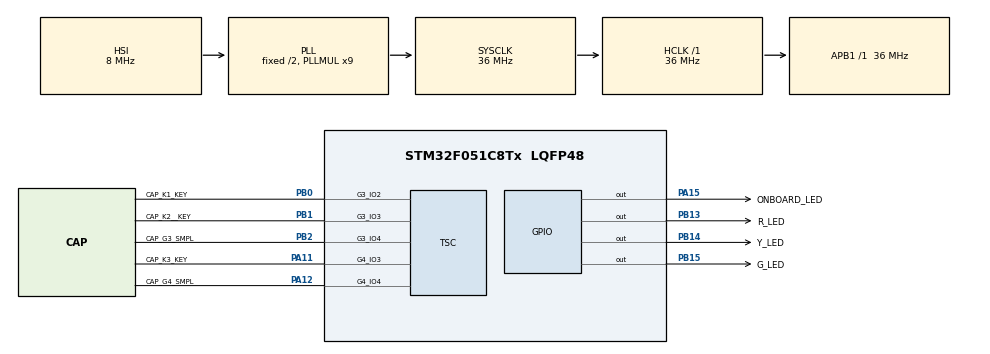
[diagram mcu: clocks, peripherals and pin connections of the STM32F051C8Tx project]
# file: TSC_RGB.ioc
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Mcu.Family=STM32F0
Mcu.Name=STM32F051C8Tx
Mcu.Package=LQFP48
NVIC.TIM1_BRK_UP_TRG_COM_IRQn=true\:0\:0\:false\:false\:true\:true\:true
NVIC.TSC_IRQn=true\:0\:0\:false\:false\:true\:true\:true
PA11.GPIO_Label=CAP_K3_KEY
PA11.Mode=G4_IO3-Channel
PA11.Signal=TSC_G4_IO3
PA12.GPIO_Label=CAP_G4_SMPL
PA12.Mode=G4_IO4-Sampling
PA12.Signal=TSC_G4_IO4
PA15.GPIO_Label=ONBOARD_LED
PA15.Signal=GPIO_Output
PB0.GPIO_Label=CAP_K1_KEY
PB0.Mode=G3_IO2-Channel
PB0.Signal=TSC_G3_IO2
PB1.GPIO_Label=CAP_K2__KEY
PB1.Mode=G3_IO3-Channel
PB1.Signal=TSC_G3_IO3
PB13.GPIO_Label=R_LED
PB13.Signal=GPIO_Output
PB14.GPIO_Label=Y_LED
PB14.Signal=GPIO_Output
PB15.GPIO_Label=G_LED
PB15.Signal=GPIO_Output
PB2.GPIO_Label=CAP_G3_SMPL
PB2.Mode=G3_IO4-Sampling
PB2.Signal=TSC_G3_IO4
ProjectManager.HeapSize=0x200
ProjectManager.StackSize=0x400
ProjectManager.TargetToolchain=STM32CubeIDE
RCC.AHBFreq_Value=36000000
RCC.APB1Freq_Value=36000000
RCC.APB1TimFreq_Value=36000000
RCC.HCLKFreq_Value=36000000
RCC.PLLMUL=RCC_PLL_MUL9
RCC.SYSCLKFreq_VALUE=36000000
RCC.SYSCLKSource=RCC_SYSCLKSOURCE_PLLCLK
TIM1.Period=32768
TIM1.Prescaler=4
TOUCHSENSING.IO_TOUCHKEY_B1=G3_IO2
TOUCHSENSING.IO_TOUCHKEY_B2=G4_IO3
TOUCHSENSING.IO_TOUCHKEY_B3=G3_IO3
TOUCHSENSING.TSLPRM_DELAY_DISCHARGE_ALL=1000
TOUCHSENSING.TSLPRM_SENSORS_DATAS=TSLPRM_TOTAL_TOUCHKEYS_B 2 2 1 
TOUCHSENSING.TSLPRM_TICK_FREQ=1000
TOUCHSENSING.TSLPRM_TKEY_CALIB_TH=40
TOUCHSENSING.TSLPRM_TKEY_DETECT_IN_TH=40
TOUCHSENSING.TSLPRM_TKEY_DETECT_OUT_TH=25
TOUCHSENSING.TSLPRM_TOTAL_TOUCHKEYS_B=3
TSC.CTPulseHighLength=TSC_CTPH_4CYCLES
TSC.CTPulseLowLength=TSC_CTPL_4CYCLES
TSC.ChannelIOs-G3_IO2=TSC_GROUP3_IO2
TSC.ChannelIOs-G3_IO3=TSC_GROUP3_IO3
TSC.ChannelIOs-G4_IO3=TSC_GROUP4_IO3
TSC.MaxCountValue=TSC_MCV_4095
TSC.SamplingIOs-G3_IO4=TSC_GROUP3_IO4
TSC.SamplingIOs-G4_IO4=TSC_GROUP4_IO4
TSC.SpreadSpectrum=ENABLE
VP_TIM1_VS_ClockSourceINT.Mode=Internal
VP_TIM1_VS_ClockSourceITR.Mode=TriggerSource_ITR0
VP_TOUCHSENSING_VS_TOUCHSENSING.Mode=TouchSensing_Enabled
board=custom

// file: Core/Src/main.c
/* USER CODE BEGIN Header */
/**
  ******************************************************************************
  * @file           : main.c
  * @brief          : Main program body
  ******************************************************************************
  * @attention
  *
  * <h2><center>&copy; Copyright (c) 2021 STMicroelectronics.
  * All rights reserved.</center></h2>
  *
  * This software component is licensed by ST under BSD 3-Clause license,
  * the "License"; You may not use this file except in compliance with the
  * License. You may obtain a copy of the License at:
  *                        opensource.org/licenses/BSD-3-Clause
  *
  ******************************************************************************
  */
/* USER CODE END Header */
#include "main.h"
#include "touchsensing.h"

/* USER CODE BEGIN PD */
#define TEST_TKEY(NB) ((MyTKeysB[(NB)].p_Data->StateId == TSL_STATEID_DETECT) || \
                       (MyTKeysB[(NB)].p_Data->StateId == TSL_STATEID_DEB_RELEASE_DETECT))
/* USER CODE END PD */

TIM_HandleTypeDef htim1;

TSC_HandleTypeDef htsc;

/* USER CODE BEGIN PV */
uint8_t DS[TSLPRM_TOTAL_TKEYS]; // To store the States (one per object)
int16_t DD[TSLPRM_TOTAL_TKEYS]; // To store the Deltas (one per channel)
uint16_t DM[TSLPRM_TOTAL_TKEYS];// To store the Measures (one per object)
uint16_t DR[TSLPRM_TOTAL_TKEYS];// To store the references (one per object)

/* USER CODE END PV */

void SystemClock_Config(void);
static void MX_GPIO_Init(void);
static void MX_TSC_Init(void);
static void MX_TIM1_Init(void);
void ProcessSensors(void);

int main(void)
{

  /* MCU Configuration--------------------------------------------------------*/

  /* Reset of all peripherals, Initializes the Flash interface and the Systick. */
  HAL_Init();

  /* Configure the system clock */
  SystemClock_Config();

  /* Initialize all configured peripherals */
  MX_GPIO_Init();
  MX_TSC_Init();
  MX_TOUCHSENSING_Init();
  MX_TIM1_Init();

  /* Infinite loop */
  while (1)
  {
	  if(tsl_user_Exec() == TSL_STATUS_OK)
	  {
		ProcessSensors(); // Execute sensors related tasks
	  }
  }
}

void SystemClock_Config(void)
{
  RCC_OscInitTypeDef RCC_OscInitStruct = {0};
  RCC_ClkInitTypeDef RCC_ClkInitStruct = {0};

  /** Initializes the RCC Oscillators according to the specified parameters
  * in the RCC_OscInitTypeDef structure.
  */
  RCC_OscInitStruct.OscillatorType = RCC_OSCILLATORTYPE_HSI;
  RCC_OscInitStruct.HSIState = RCC_HSI_ON;
  RCC_OscInitStruct.HSICalibrationValue = RCC_HSICALIBRATION_DEFAULT;
  RCC_OscInitStruct.PLL.PLLState = RCC_PLL_ON;
  RCC_OscInitStruct.PLL.PLLSource = RCC_PLLSOURCE_HSI;
  RCC_OscInitStruct.PLL.PLLMUL = RCC_PLL_MUL9;
  RCC_OscInitStruct.PLL.PREDIV = RCC_PREDIV_DIV1;
  if (HAL_RCC_OscConfig(&RCC_OscInitStruct) != HAL_OK)
  {
    Error_Handler();
  }
  /** Initializes the CPU, AHB and APB buses clocks
  */
  RCC_ClkInitStruct.ClockType = RCC_CLOCKTYPE_HCLK|RCC_CLOCKTYPE_SYSCLK
                              |RCC_CLOCKTYPE_PCLK1;
  RCC_ClkInitStruct.SYSCLKSource = RCC_SYSCLKSOURCE_PLLCLK;
  RCC_ClkInitStruct.AHBCLKDivider = RCC_SYSCLK_DIV1;
  RCC_ClkInitStruct.APB1CLKDivider = RCC_HCLK_DIV1;

  if (HAL_RCC_ClockConfig(&RCC_ClkInitStruct, FLASH_LATENCY_1) != HAL_OK)
  {
    Error_Handler();
  }
}

static void MX_TIM1_Init(void)
{

  TIM_ClockConfigTypeDef sClockSourceConfig = {0};
  TIM_SlaveConfigTypeDef sSlaveConfig = {0};
  TIM_MasterConfigTypeDef sMasterConfig = {0};

  htim1.Instance = TIM1;
  htim1.Init.Prescaler = 4;
  htim1.Init.CounterMode = TIM_COUNTERMODE_UP;
  htim1.Init.Period = 32768;
  htim1.Init.ClockDivision = TIM_CLOCKDIVISION_DIV1;
  htim1.Init.RepetitionCounter = 0;
  htim1.Init.AutoReloadPreload = TIM_AUTORELOAD_PRELOAD_DISABLE;
  if (HAL_TIM_Base_Init(&htim1) != HAL_OK)
  {
    Error_Handler();
  }
  sClockSourceConfig.ClockSource = TIM_CLOCKSOURCE_INTERNAL;
  if (HAL_TIM_ConfigClockSource(&htim1, &sClockSourceConfig) != HAL_OK)
  {
    Error_Handler();
  }
  sSlaveConfig.SlaveMode = TIM_SLAVEMODE_DISABLE;
  sSlaveConfig.InputTrigger = TIM_TS_ITR0;
  if (HAL_TIM_SlaveConfigSynchro(&htim1, &sSlaveConfig) != HAL_OK)
  {
    Error_Handler();
  }
  sMasterConfig.MasterOutputTrigger = TIM_TRGO_RESET;
  sMasterConfig.MasterSlaveMode = TIM_MASTERSLAVEMODE_DISABLE;
  if (HAL_TIMEx_MasterConfigSynchronization(&htim1, &sMasterConfig) != HAL_OK)
  {
    Error_Handler();
  }

}

static void MX_TSC_Init(void)
{

  /** Configure the TSC peripheral
  */
  htsc.Instance = TSC;
  htsc.Init.CTPulseHighLength = TSC_CTPH_4CYCLES;
  htsc.Init.CTPulseLowLength = TSC_CTPL_4CYCLES;
  htsc.Init.SpreadSpectrum = ENABLE;
  htsc.Init.SpreadSpectrumDeviation = 1;
  htsc.Init.SpreadSpectrumPrescaler = TSC_SS_PRESC_DIV1;
  htsc.Init.PulseGeneratorPrescaler = TSC_PG_PRESC_DIV4;
  htsc.Init.MaxCountValue = TSC_MCV_4095;
  htsc.Init.IODefaultMode = TSC_IODEF_OUT_PP_LOW;
  htsc.Init.SynchroPinPolarity = TSC_SYNC_POLARITY_FALLING;
  htsc.Init.AcquisitionMode = TSC_ACQ_MODE_NORMAL;
  htsc.Init.MaxCountInterrupt = DISABLE;
  htsc.Init.ChannelIOs = TSC_GROUP3_IO2|TSC_GROUP3_IO3|TSC_GROUP4_IO3;
  htsc.Init.ShieldIOs = 0;
  htsc.Init.SamplingIOs = TSC_GROUP3_IO4|TSC_GROUP4_IO4;
  if (HAL_TSC_Init(&htsc) != HAL_OK)
  {
    Error_Handler();
  }

}

static void MX_GPIO_Init(void)
{
  GPIO_InitTypeDef GPIO_InitStruct = {0};

  /* GPIO Ports Clock Enable */
  __HAL_RCC_GPIOB_CLK_ENABLE();
  __HAL_RCC_GPIOA_CLK_ENABLE();

  /*Configure GPIO pin Output Level */
  HAL_GPIO_WritePin(GPIOB, R_LED_Pin|Y_LED_Pin|G_LED_Pin, GPIO_PIN_RESET);

  /*Configure GPIO pin Output Level */
  HAL_GPIO_WritePin(ONBOARD_LED_GPIO_Port, ONBOARD_LED_Pin, GPIO_PIN_RESET);

  /*Configure GPIO pins : R_LED_Pin Y_LED_Pin G_LED_Pin */
  GPIO_InitStruct.Pin = R_LED_Pin|Y_LED_Pin|G_LED_Pin;
  GPIO_InitStruct.Mode = GPIO_MODE_OUTPUT_PP;
  GPIO_InitStruct.Pull = GPIO_NOPULL;
  GPIO_InitStruct.Speed = GPIO_SPEED_FREQ_LOW;
  HAL_GPIO_Init(GPIOB, &GPIO_InitStruct);

  /*Configure GPIO pin : ONBOARD_LED_Pin */
  GPIO_InitStruct.Pin = ONBOARD_LED_Pin;
  GPIO_InitStruct.Mode = GPIO_MODE_OUTPUT_PP;
  GPIO_InitStruct.Pull = GPIO_NOPULL;
  GPIO_InitStruct.Speed = GPIO_SPEED_FREQ_LOW;
  HAL_GPIO_Init(ONBOARD_LED_GPIO_Port, &GPIO_InitStruct);

}

/* USER CODE BEGIN 4 */
void ProcessSensors(void)
{
  uint32_t idx = 0;
  uint32_t idx_ds = 0;
  uint32_t idx_dd = 0;
  uint32_t idx_dm = 0;
  uint32_t idx_dr = 0;

  // STMStudio debug
  for (idx = 0; idx < TSLPRM_TOTAL_TKEYS; idx++)
  {
    DS[idx_ds++] = MyTKeysB[idx].p_Data->StateId;
    DD[idx_dd++] = MyTKeysB[idx].p_ChD->Delta;
    DM[idx_dm++] = MyTKeysB[idx].p_ChD->Meas;
    DR[idx_dr++] = MyTKeysB[idx].p_ChD->Ref;
  }

  HAL_GPIO_TogglePin(ONBOARD_LED_GPIO_Port, ONBOARD_LED_Pin);

  // TKEY 0
  if (TEST_TKEY(0))
  {
	  HAL_GPIO_TogglePin(R_LED_GPIO_Port, R_LED_Pin);
	  HAL_Delay(400);
  }

  // TKEY 1
  if (TEST_TKEY(1))
  {
	  HAL_GPIO_TogglePin(G_LED_GPIO_Port, G_LED_Pin);
	  HAL_Delay(400);
  }

  // TKEY 2
  if (TEST_TKEY(2))
  {
	  HAL_GPIO_TogglePin(Y_LED_GPIO_Port, Y_LED_Pin);
	  HAL_Delay(400);
  }

  HAL_Delay(100);
}
/* USER CODE END 4 */

void Error_Handler(void)
{
  __disable_irq();
  while (1)
  {
  }
}
